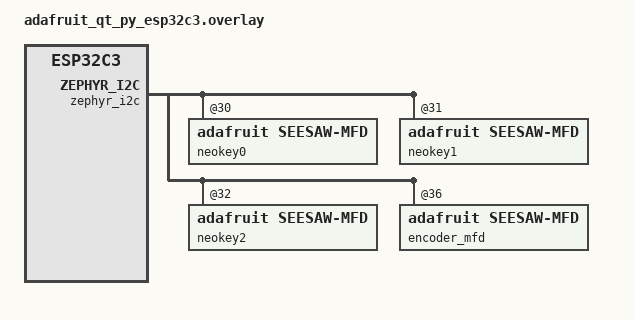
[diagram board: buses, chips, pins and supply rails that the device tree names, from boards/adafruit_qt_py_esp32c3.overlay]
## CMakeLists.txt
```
cmake_minimum_required(VERSION 3.20.0)

find_package(Zephyr REQUIRED HINTS $ENV{ZEPHYR_BASE})
project(codex_keys)

target_sources(app PRIVATE
  src/main.c
  src/codex_hid.c
  src/codex_json.c
  src/codex_rpc.c
)
```

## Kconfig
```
mainmenu "Application options"

source "Kconfig.zephyr"
```

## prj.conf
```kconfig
# Application
CONFIG_MAIN_STACK_SIZE=4096
CONFIG_SYSTEM_WORKQUEUE_STACK_SIZE=4096
CONFIG_LOG=y
CONFIG_REBOOT=y

# 3x NeoKey 1x4 + rotary encoder: seesaw MFD stack over the STEMMA QT I2C bus
CONFIG_I2C=y
CONFIG_GPIO=y
CONFIG_MFD=y
CONFIG_MFD_ADAFRUIT_SEESAW=y
CONFIG_GPIO_ADAFRUIT_SEESAW=y
CONFIG_LED_STRIP=y
CONFIG_LED_STRIP_ADAFRUIT_SEESAW=y
CONFIG_SENSOR=y
CONFIG_ADAFRUIT_SEESAW_ENCODER=y

# Bluetooth HID-over-GATT peripheral
CONFIG_BT=y
CONFIG_BT_PERIPHERAL=y
CONFIG_BT_SMP=y
CONFIG_BT_DEVICE_NAME="Codex Micro"
CONFIG_BT_DEVICE_APPEARANCE=960
CONFIG_BT_MAX_CONN=1
CONFIG_BT_GATT_DYNAMIC_DB=y
CONFIG_BT_HIDS=y
CONFIG_BT_HIDS_OUTPUT_REPORT_COUNT=1
CONFIG_BT_BAS=y
# esp32 BLE host RX thread needs more than the 1200-byte default (zephyr#114394)
CONFIG_BT_RX_STACK_SIZE=2048

# Identity ChatGPT Desktop probes for. Not ours: these belong to the Work Louder
# Codex Micro keyboard and are emitted only for host compatibility detection.
CONFIG_BT_DIS=y
CONFIG_BT_DIS_MODEL_NUMBER=y
CONFIG_BT_DIS_MODEL_NUMBER_STR="Codex Micro"
CONFIG_BT_DIS_MANUF_NAME=y
CONFIG_BT_DIS_MANUF_NAME_STR="Work Louder"
CONFIG_BT_DIS_PNP=y
CONFIG_BT_DIS_PNP_VID_SRC=2
CONFIG_BT_DIS_PNP_VID=0x303A
CONFIG_BT_DIS_PNP_PID=0x8360
CONFIG_BT_DIS_PNP_VER=0x0101

# 63-byte reports need an ATT MTU of at least 66
CONFIG_BT_L2CAP_TX_MTU=252
CONFIG_BT_BUF_ACL_TX_SIZE=251
CONFIG_BT_BUF_ACL_RX_SIZE=251

# Persistent storage for bonds
CONFIG_FLASH=y
CONFIG_FLASH_MAP=y
CONFIG_ZMS=y
CONFIG_SETTINGS=y
CONFIG_BT_SETTINGS=y

CONFIG_HEAP_MEM_POOL_SIZE=16384
```

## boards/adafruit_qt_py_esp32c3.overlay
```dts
/*
 * Codex Micro controller box: 3x Adafruit NeoKey 1x4 QT (PID 4980) plus an
 * Adafruit I2C QT Rotary Encoder (PID 4991), all seesaw devices chained on the
 * STEMMA QT bus. Drivers come from the rosterloh-drivers module.
 *
 * NeoKey addresses are set with the A0..A3 solder jumpers (base 0x30, A0 adds
 * 1, A1 adds 2): board 0 stock, board 1 with A0 bridged, board 2 with A1
 * bridged. On each board the 4 keys are seesaw GPIO 4..7 (active-low, internal
 * pull-up) and the 4 NeoPixels are chained on seesaw pin 3.
 *
 * The encoder breakout sits at its stock 0x36; its push switch is seesaw pin
 * 24 and its onboard NeoPixel (unused so far) is on seesaw pin 6.
 *
 * read-delay-us is a busy-wait before every register read. 10 ms is inherited
 * from bt_keys where it is known to work, but with four devices on the bus
 * that is ~50 ms of spinning per scan pass, so it is the first knob to wind
 * down (the binding default is 250 us) if key latency disappoints.
 */

#include <zephyr/dt-bindings/led/led.h>

&zephyr_i2c {
	status = "okay";

	neokey0: seesaw@30 {
		compatible = "adafruit,seesaw-mfd";
		reg = <0x30>;
		read-delay-us = <10000>;
		status = "okay";

		neokey0_gpio: gpio {
			compatible = "adafruit,seesaw-gpio";
			gpio-controller;
			#gpio-cells = <2>;
			ngpios = <16>;
			status = "okay";
		};

		neokey0_leds: neopixel {
			compatible = "adafruit,seesaw-neopixel";
			chain-length = <4>;
			color-mapping = <LED_COLOR_ID_GREEN LED_COLOR_ID_RED LED_COLOR_ID_BLUE>;
			seesaw-pin = <3>;
			frequency = <800000>;
			status = "okay";
		};
	};

	neokey1: seesaw@31 {
		compatible = "adafruit,seesaw-mfd";
		reg = <0x31>;
		read-delay-us = <10000>;
		status = "okay";

		neokey1_gpio: gpio {
			compatible = "adafruit,seesaw-gpio";
			gpio-controller;
			#gpio-cells = <2>;
			ngpios = <16>;
			status = "okay";
		};

		neokey1_leds: neopixel {
			compatible = "adafruit,seesaw-neopixel";
			chain-length = <4>;
			color-mapping = <LED_COLOR_ID_GREEN LED_COLOR_ID_RED LED_COLOR_ID_BLUE>;
			seesaw-pin = <3>;
			frequency = <800000>;
			status = "okay";
		};
	};

	neokey2: seesaw@32 {
		compatible = "adafruit,seesaw-mfd";
		reg = <0x32>;
		read-delay-us = <10000>;
		status = "okay";

		neokey2_gpio: gpio {
			compatible = "adafruit,seesaw-gpio";
			gpio-controller;
			#gpio-cells = <2>;
			ngpios = <16>;
			status = "okay";
		};

		neokey2_leds: neopixel {
			compatible = "adafruit,seesaw-neopixel";
			chain-length = <4>;
			color-mapping = <LED_COLOR_ID_GREEN LED_COLOR_ID_RED LED_COLOR_ID_BLUE>;
			seesaw-pin = <3>;
			frequency = <800000>;
			status = "okay";
		};
	};

	encoder_mfd: seesaw@36 {
		compatible = "adafruit,seesaw-mfd";
		reg = <0x36>;
		read-delay-us = <10000>;
		status = "okay";

		encoder: encoder {
			compatible = "adafruit,seesaw-encoder";
			status = "okay";
		};

		encoder_gpio: gpio {
			compatible = "adafruit,seesaw-gpio";
			gpio-controller;
			#gpio-cells = <2>;
			ngpios = <32>;
			status = "okay";
		};
	};
};
```

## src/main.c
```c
/*
 * Copyright (c) 2026 Richard Osterloh
 *
 * SPDX-License-Identifier: Apache-2.0
 *
 * codex_keys - a Codex Micro compatible BLE controller built from 3x Adafruit
 * NeoKey 1x4 and an Adafruit I2C rotary encoder.
 *
 * The twelve keys cover the host's full key set (six agent keys, six command
 * keys) and the encoder provides the dial. The NeoPixels still only show a
 * local press colour; rendering the host's agent lighting state from
 * v.oai.thstatus is the next step.
 */

#include <zephyr/bluetooth/bluetooth.h>
#include <zephyr/bluetooth/conn.h>
#include <zephyr/bluetooth/services/bas.h>
#include <zephyr/bluetooth/uuid.h>
#include <zephyr/device.h>
#include <zephyr/devicetree.h>
#include <zephyr/drivers/gpio.h>
#include <zephyr/drivers/led_strip.h>
#include <zephyr/drivers/sensor.h>
#include <zephyr/kernel.h>
#include <zephyr/logging/log.h>
#include <zephyr/settings/settings.h>
#include <zephyr/sys/util.h>

#include "codex_hid.h"
#include "codex_rpc.h"

LOG_MODULE_REGISTER(app, LOG_LEVEL_INF);

#define SCAN_INTERVAL K_MSEC(20)

#define KEYS_PER_PAD 4
#define NUM_PADS     3
#define NUM_KEYS     (NUM_PADS * KEYS_PER_PAD)

/* Seesaw GPIO pins the four keys of a NeoKey 1x4 are wired to. */
static const uint8_t key_pin[KEYS_PER_PAD] = {4, 5, 6, 7};

/* Encoder push switch, seesaw GPIO on the rotary encoder breakout. */
#define ENCODER_SWITCH_PIN 24

/*
 * Seesaw counts up when the shaft turns anticlockwise, and this encoder emits
 * one count per detent. Both are worth re-checking against the actual box:
 * flip the sign if the dial scrolls backwards, raise the divisor if one detent
 * produces several steps.
 */
#define ENCODER_CW_IS_NEGATIVE  1
#define ENCODER_COUNTS_PER_STEP 1

/* A fast spin must not monopolise the scan loop; each step is a BLE round. */
#define ENCODER_STEPS_PER_POLL 8

struct keypad {
	const struct device *gpio;
	const struct device *leds;
};

static const struct keypad keypads[NUM_PADS] = {
	{DEVICE_DT_GET(DT_NODELABEL(neokey0_gpio)), DEVICE_DT_GET(DT_NODELABEL(neokey0_leds))},
	{DEVICE_DT_GET(DT_NODELABEL(neokey1_gpio)), DEVICE_DT_GET(DT_NODELABEL(neokey1_leds))},
	{DEVICE_DT_GET(DT_NODELABEL(neokey2_gpio)), DEVICE_DT_GET(DT_NODELABEL(neokey2_leds))},
};

static const struct device *const encoder_dev = DEVICE_DT_GET(DT_NODELABEL(encoder));
static const struct device *const encoder_gpio = DEVICE_DT_GET(DT_NODELABEL(encoder_gpio));

/*
 * Physical key -> host key id. Keys 0-3 are the first NeoKey, 4-7 the second,
 * 8-11 the third. Agent keys carry their slot index; command keys use -1.
 * Rearrange to match how the strips ended up in the box.
 */
/* clang-format off */
static const struct {
	const char *id;
	int8_t agent;
} key_map[NUM_KEYS] = {
	{"AG00",   0}, {"AG01",   1}, {"AG02",  2}, {"AG03",  3},
	{"AG04",   4}, {"AG05",   5}, {"ACT06", -1}, {"ACT07", -1},
	{"ACT08", -1}, {"ACT09", -1}, {"ACT10", -1}, {"ACT12", -1},
};
/* clang-format on */

static const struct led_rgb key_lit = {.r = 0, .g = 24, .b = 24};
static const struct led_rgb key_off = {.r = 0, .g = 0, .b = 0};

/* ---------- Bluetooth ---------- */

static const struct bt_data ad[] = {
	BT_DATA_BYTES(BT_DATA_FLAGS, (BT_LE_AD_GENERAL | BT_LE_AD_NO_BREDR)),
	BT_DATA_BYTES(BT_DATA_UUID16_ALL, BT_UUID_16_ENCODE(BT_UUID_HIDS_VAL),
		      BT_UUID_16_ENCODE(BT_UUID_BAS_VAL)),
};

static const struct bt_data sd[] = {
	BT_DATA(BT_DATA_NAME_COMPLETE, CONFIG_BT_DEVICE_NAME, sizeof(CONFIG_BT_DEVICE_NAME) - 1),
};

static void connected(struct bt_conn *conn, uint8_t err)
{
	if (err) {
		LOG_ERR("Connection failed (err 0x%02x)", err);
		return;
	}

	LOG_INF("Connected");

	if (bt_conn_set_security(conn, BT_SECURITY_L2)) {
		LOG_WRN("Failed to set security");
	}
}

static void disconnected(struct bt_conn *conn, uint8_t reason)
{
	LOG_INF("Disconnected (reason 0x%02x)", reason);
}

static void security_changed(struct bt_conn *conn, bt_security_t level, enum bt_security_err err)
{
	if (err) {
		LOG_WRN("Security failed: level %u err %d", level, err);
	} else {
		LOG_INF("Security changed: level %u", level);
	}
}

BT_CONN_CB_DEFINE(conn_callbacks) = {
	.connected = connected,
	.disconnected = disconnected,
	.security_changed = security_changed,
};

static void bt_ready(int err)
{
	if (err) {
		LOG_ERR("Bluetooth init failed (err %d)", err);
		return;
	}

	err = codex_hid_init();
	if (err) {
		LOG_ERR("HID service register failed (err %d)", err);
		return;
	}

	if (IS_ENABLED(CONFIG_SETTINGS)) {
		settings_load();
	}

	bt_bas_set_battery_level(100);

	err = bt_le_adv_start(BT_LE_ADV_CONN_FAST_1, ad, ARRAY_SIZE(ad), sd, ARRAY_SIZE(sd));
	if (err) {
		LOG_ERR("Advertising failed to start (err %d)", err);
		return;
	}

	LOG_INF("Advertising as \"%s\" (%04x:%04x)", CONFIG_BT_DEVICE_NAME, CONFIG_BT_DIS_PNP_VID,
		CONFIG_BT_DIS_PNP_PID);
}

/* ---------- Keypads ---------- */

static int keypads_init(void)
{
	for (int pad = 0; pad < NUM_PADS; pad++) {
		if (!device_is_ready(keypads[pad].gpio) || !device_is_ready(keypads[pad].leds)) {
			LOG_ERR("Keypad %d not ready", pad);
			return -ENODEV;
		}

		for (int i = 0; i < KEYS_PER_PAD; i++) {
			int err = gpio_pin_configure(keypads[pad].gpio, key_pin[i],
						     GPIO_INPUT | GPIO_PULL_UP);

			if (err) {
				LOG_ERR("configure pad %d pin %u: %d", pad, key_pin[i], err);
				return err;
			}
		}
	}

	return 0;
}

/* Returns a bitmask of pressed keys (bit i == key_map[i]), or negative on error. */
static int keypads_scan(void)
{
	int pressed = 0;

	for (int pad = 0; pad < NUM_PADS; pad++) {
		gpio_port_value_t raw;
		int err = gpio_port_get_raw(keypads[pad].gpio, &raw);

		if (err) {
			return err;
		}

		for (int i = 0; i < KEYS_PER_PAD; i++) {
			/* Keys are active-low with pull-ups: a 0 bit means pressed. */
			if (!(raw & BIT(key_pin[i]))) {
				pressed |= BIT(pad * KEYS_PER_PAD + i);
			}
		}
	}

	return pressed;
}

/* Only pushes pixels for pads whose keys actually changed. */
static void leds_update(int pressed_mask, int prev_mask)
{
	for (int pad = 0; pad < NUM_PADS; pad++) {
		int shift = pad * KEYS_PER_PAD;
		int mask = (BIT(KEYS_PER_PAD) - 1) << shift;

		if ((pressed_mask & mask) == (prev_mask & mask)) {
			continue;
		}

		struct led_rgb buf[KEYS_PER_PAD];

		for (int i = 0; i < KEYS_PER_PAD; i++) {
			buf[i] = (pressed_mask & BIT(shift + i)) ? key_lit : key_off;
		}

		int err = led_strip_update_rgb(keypads[pad].leds, buf, KEYS_PER_PAD);

		if (err) {
			LOG_WRN("pad %d led update failed: %d", pad, err);
		}
	}
}

static void report_keys(int pressed_mask, int prev_mask)
{
	for (int i = 0; i < NUM_KEYS; i++) {
		int now = pressed_mask & BIT(i);

		if (now == (prev_mask & BIT(i))) {
			continue;
		}

		codex_rpc_send_key(key_map[i].id, now ? CODEX_ACT_PRESS : CODEX_ACT_RELEASE,
				   key_map[i].agent);
	}
}

/* ---------- Rotary encoder ---------- */

static int32_t encoder_last;
static bool encoder_synced;

/* Turn accumulated counts into ENC_CW / ENC_CC step events. */
static void encoder_poll(void)
{
	struct sensor_value val;

	if (sensor_sample_fetch(encoder_dev) < 0 ||
	    sensor_channel_get(encoder_dev, SENSOR_CHAN_ROTATION, &val) < 0) {
		return;
	}

	if (!encoder_synced) {
		encoder_last = val.val1;
		encoder_synced = true;
		return;
	}

	int32_t delta = val.val1 - encoder_last;
	int steps = delta / ENCODER_COUNTS_PER_STEP;

	if (steps == 0) {
		return;
	}

	/* Keep the sub-step remainder so slow turns are not lost. */
	encoder_last += steps * ENCODER_COUNTS_PER_STEP;

	bool clockwise = ENCODER_CW_IS_NEGATIVE ? (steps < 0) : (steps > 0);
	int count = (steps < 0) ? -steps : steps;

	if (count > ENCODER_STEPS_PER_POLL) {
		LOG_WRN("dropping %d encoder steps", count - ENCODER_STEPS_PER_POLL);
		count = ENCODER_STEPS_PER_POLL;
	}

	while (count--) {
		codex_rpc_send_key(clockwise ? "ENC_CW" : "ENC_CC", CODEX_ACT_STEP, -1);
	}
}

static void encoder_switch_poll(void)
{
	static bool was_pressed;

	int val = gpio_pin_get_raw(encoder_gpio, ENCODER_SWITCH_PIN);

	if (val < 0) {
		return;
	}

	bool pressed = (val == 0); /* active-low */

	if (pressed != was_pressed) {
		was_pressed = pressed;
		codex_rpc_send_key("ENC", pressed ? CODEX_ACT_PRESS : CODEX_ACT_RELEASE, -1);
	}
}

static int encoder_init(void)
{
	if (!device_is_ready(encoder_dev) || !device_is_ready(encoder_gpio)) {
		LOG_ERR("Encoder not ready");
		return -ENODEV;
	}

	int err = gpio_pin_configure(encoder_gpio, ENCODER_SWITCH_PIN, GPIO_INPUT | GPIO_PULL_UP);

	if (err) {
		LOG_ERR("configure encoder switch: %d", err);
	}

	return err;
}

int main(void)
{
	int err;

	LOG_INF("codex_keys starting: %d keys + encoder", NUM_KEYS);

	if (keypads_init() || encoder_init()) {
		return 0;
	}

	/* Pretend every key was held so all three strips get blanked once. */
	leds_update(0, BIT(NUM_KEYS) - 1);

	err = bt_enable(bt_ready);
	if (err) {
		LOG_ERR("bt_enable failed (err %d)", err);
		return 0;
	}

	int prev_mask = 0;

	while (1) {
		int mask = keypads_scan();

		if (mask < 0) {
			LOG_WRN("keypad scan failed: %d", mask);
		} else if (mask != prev_mask) {
			leds_update(mask, prev_mask);
			report_keys(mask, prev_mask);
			prev_mask = mask;
		}

		encoder_poll();
		encoder_switch_poll();

		k_sleep(SCAN_INTERVAL);
	}

	return 0;
}
```

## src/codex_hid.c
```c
/*
 * Copyright (c) 2026 Richard Osterloh
 *
 * SPDX-License-Identifier: Apache-2.0
 *
 * HID-over-GATT on Zephyr's HID Service, with a single vendor-defined
 * collection: one 63-byte input report and one 63-byte output report under
 * report id 6. The
 * descriptor and framing mirror the Work Louder Codex Micro keyboard, which is
 * what ChatGPT Desktop probes for. See README.md for provenance.
 */

#include <errno.h>
#include <stdio.h>
#include <string.h>

#include <zephyr/bluetooth/services/hids.h>
#include <zephyr/kernel.h>
#include <zephyr/logging/log.h>
#include <zephyr/sys/util.h>

#include "codex_hid.h"

LOG_MODULE_REGISTER(codex_hid, LOG_LEVEL_INF);

#define REPORT_ID       0x06
#define REPORT_BODY_LEN 63
#define PAYLOAD_MAX     (REPORT_BODY_LEN - 2)
#define MSG_TYPE_JSON   2

/* The reference firmware paces fragments to avoid overrunning the host. */
#define FRAGMENT_GAP K_MSEC(4)

/*
 * One vendor-defined application collection. On BLE the report id selects the
 * characteristic and is not part of the 63-byte report body.
 */
/* clang-format off */
static const uint8_t report_map[] = {
	0x06, 0x00, 0xFF,     /* Usage Page (Vendor Defined 0xFF00) */
	0x09, 0x01,           /* Usage (1) */
	0xA1, 0x01,           /* Collection (Application) */
	0x85, REPORT_ID,      /*  Report ID (6) */
	0x15, 0x00,           /*  Logical Minimum (0) */
	0x26, 0xFF, 0x00,     /*  Logical Maximum (255) */
	0x75, 0x08,           /*  Report Size (8) */
	0x95, 0x3F,           /*  Report Count (63) */
	0x09, 0x01,           /*  Usage (1) */
	0x81, 0x02,           /*  Input (Data,Var,Abs) */
	0x95, 0x3F,           /*  Report Count (63) */
	0x09, 0x02,           /*  Usage (2) */
	0x91, 0x02,           /*  Output (Data,Var,Abs) */
	0xC0,                 /* End Collection */
};
/* clang-format on */

/* Reassembly of fragmented host requests. Only touched from GATT writes. */
static char rx_buf[CODEX_JSON_MAX];
static size_t rx_len;

/* True once rx_buf holds a complete top-level JSON object. */
static bool rx_object_complete(void)
{
	int depth = 0;
	bool in_string = false;

	for (size_t i = 0; i < rx_len; i++) {
		char c = rx_buf[i];

		if (in_string) {
			if (c == '\\') {
				i++;
			} else if (c == '"') {
				in_string = false;
			}
			continue;
		}

		if (c == '"') {
			in_string = true;
		} else if (c == '{') {
			depth++;
		} else if (c == '}' && --depth == 0) {
			return true;
		}
	}

	return false;
}

static void rx_append(const char *payload, size_t len)
{
	/* A fresh top-level object means an earlier fragment was dropped. */
	if (rx_len > 0 && len >= 9 && memcmp(payload, "{\"method\"", 9) == 0) {
		LOG_WRN("resynchronising, discarded %u stale bytes", (unsigned int)rx_len);
		rx_len = 0;
	}

	if (rx_len == 0) {
		while (len > 0 && *payload != '{') {
			payload++;
			len--;
		}
	}

	if (len == 0) {
		return;
	}

	if (rx_len + len >= sizeof(rx_buf)) {
		LOG_WRN("request exceeds %zu bytes, dropping", sizeof(rx_buf));
		rx_len = 0;
		return;
	}

	memcpy(rx_buf + rx_len, payload, len);
	rx_len += len;
	rx_buf[rx_len] = '\0';

	if (rx_object_complete()) {
		LOG_INF("rx: %s", rx_buf);
		codex_rpc_handle(rx_buf);
		rx_len = 0;
	}
}

static void set_report(struct bt_conn *conn, enum bt_hids_report_type type, uint8_t id,
		       const uint8_t *data, uint16_t len)
{
	if (type != BT_HIDS_REPORT_TYPE_OUTPUT || id != REPORT_ID) {
		return;
	}

	LOG_HEXDUMP_DBG(data, len, "output report");

	/* HOGP strips the report id; also accept hosts that forward it. */
	size_t body = (len >= 3 && data[0] == REPORT_ID) ? 1 : 0;

	if (len < body + 2 || data[body] != MSG_TYPE_JSON) {
		LOG_WRN("ignoring output report (len %u, type %u)", len,
			len > body ? data[body] : 0);
		return;
	}

	size_t payload_len = MIN(data[body + 1], PAYLOAD_MAX);

	if (len < body + 2 + payload_len) {
		LOG_WRN("truncated fragment: claims %u bytes, got %u", (unsigned int)payload_len,
			len);
		return;
	}

	rx_append((const char *)(data + body + 2), payload_len);
}

int codex_hid_init(void)
{
	static const struct bt_hids_cb cb = {.set_report = set_report};
	const struct bt_hids_register_param param = {
		.bcd_hid = 0x0111,
		.flags = BT_HIDS_INFO_FLAG_NORMALLY_CONNECTABLE,
		.report_map = report_map,
		.report_map_len = sizeof(report_map),
		.input_report_ids = {REPORT_ID},
		.output_report_ids = {REPORT_ID},
		.cb = &cb,
	};

	return bt_hids_register(&param);
}

/* Key events and RPC replies are sent from different threads. */
static K_MUTEX_DEFINE(tx_lock);
static char framed[CODEX_JSON_MAX];

int codex_hid_send(const char *json)
{
	int ret = 0;

	k_mutex_lock(&tx_lock, K_FOREVER);

	int n = snprintf(framed, sizeof(framed), "%s\n", json);

	if (n < 0 || n >= (int)sizeof(framed)) {
		k_mutex_unlock(&tx_lock);
		return -EMSGSIZE;
	}

	LOG_INF("tx: %s", json);

	for (int offset = 0; offset < n; offset += PAYLOAD_MAX) {
		uint8_t report[REPORT_BODY_LEN] = {0};
		size_t chunk = MIN((size_t)(n - offset), PAYLOAD_MAX);

		report[0] = MSG_TYPE_JSON;
		report[1] = chunk;
		memcpy(&report[2], framed + offset, chunk);

		ret = bt_hids_send_report(NULL, REPORT_ID, report, sizeof(report), NULL, NULL);
		if (ret) {
			/* -ENOTCONN: no host subscribed yet. */
			if (ret != -ENOTCONN) {
				LOG_WRN("notify failed: %d", ret);
			}
			break;
		}

		k_sleep(FRAGMENT_GAP);
	}

	k_mutex_unlock(&tx_lock);
	return ret;
}
```

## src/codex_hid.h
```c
/*
 * Copyright (c) 2026 Richard Osterloh
 *
 * SPDX-License-Identifier: Apache-2.0
 */

#ifndef CODEX_HID_H_
#define CODEX_HID_H_

#include <stddef.h>

/*
 * Vendor-defined HID-over-GATT transport: usage page 0xFF00, report id 6, one
 * 63-byte input report and one 63-byte output report. JSON messages are framed
 * as [type=2][len][payload] and fragmented across reports.
 */

/* Longest JSON message that can be sent or reassembled, including the
 * terminating newline the host's framing expects.
 */
#define CODEX_JSON_MAX 512

/* Register the HID Service. Call before settings_load() so CCCs restore. */
int codex_hid_init(void);

/* Frame, fragment and notify `json`. Sleeps between fragments, so it must be
 * called from a thread. Returns 0, -ENOTCONN if the host is not subscribed, or
 * -EMSGSIZE if the message exceeds CODEX_JSON_MAX.
 */
int codex_hid_send(const char *json);

/* Provided by the application: called with one reassembled, NUL-terminated
 * JSON object received from the host.
 */
void codex_rpc_handle(const char *json);

#endif /* CODEX_HID_H_ */
```

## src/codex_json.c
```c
/*
 * Copyright (c) 2026 Richard Osterloh
 *
 * SPDX-License-Identifier: Apache-2.0
 */

#include <string.h>

#include "codex_json.h"

static const char *skip_ws(const char *p)
{
	while (*p == ' ' || *p == '\t' || *p == '\n' || *p == '\r') {
		p++;
	}

	return p;
}

/* Advance past a JSON string starting at the opening quote. NULL if unterminated. */
static const char *skip_string(const char *p)
{
	p++; /* opening quote */

	while (*p != '"') {
		if (*p == '\0') {
			return NULL;
		}
		if (*p == '\\' && p[1] != '\0') {
			p++;
		}
		p++;
	}

	return p + 1;
}

/* Advance past any JSON value. NULL if malformed or truncated. */
static const char *skip_value(const char *p)
{
	if (*p == '"') {
		return skip_string(p);
	}

	if (*p == '{' || *p == '[') {
		int depth = 0;

		do {
			if (*p == '"') {
				p = skip_string(p);
				if (p == NULL) {
					return NULL;
				}
				continue;
			}
			if (*p == '{' || *p == '[') {
				depth++;
			} else if (*p == '}' || *p == ']') {
				depth--;
			} else if (*p == '\0') {
				return NULL;
			}
			p++;
		} while (depth > 0);

		return p;
	}

	/* Number, true, false or null: runs until a structural character. */
	while (*p != '\0' && strchr(",}] \t\n\r", *p) == NULL) {
		p++;
	}

	return p;
}

const char *codex_json_member(const char *json, const char *key, size_t *len)
{
	const char *p = skip_ws(json);
	size_t key_len = strlen(key);

	if (*p != '{') {
		return NULL;
	}
	p++;

	while (true) {
		p = skip_ws(p);
		if (*p != '"') {
			return NULL; /* end of object, or malformed */
		}

		const char *name = p + 1;
		const char *name_end = skip_string(p);

		if (name_end == NULL) {
			return NULL;
		}

		p = skip_ws(name_end);
		if (*p != ':') {
			return NULL;
		}

		const char *value = skip_ws(p + 1);
		const char *value_end = skip_value(value);

		if (value_end == NULL) {
			return NULL;
		}

		size_t name_len = (size_t)(name_end - name) - 1;

		if (name_len == key_len && memcmp(name, key, key_len) == 0) {
			*len = (size_t)(value_end - value);
			return value;
		}

		p = skip_ws(value_end);
		if (*p != ',') {
			return NULL;
		}
		p++;
	}
}

bool codex_json_str_eq(const char *val, size_t len, const char *expect)
{
	size_t expect_len = strlen(expect);

	if (val == NULL || len != expect_len + 2 || val[0] != '"') {
		return false;
	}

	return memcmp(val + 1, expect, expect_len) == 0;
}
```

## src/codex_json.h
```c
/*
 * Copyright (c) 2026 Richard Osterloh
 *
 * SPDX-License-Identifier: Apache-2.0
 *
 * Just enough JSON to dispatch a flat JSON-RPC object. Deliberately free of
 * Zephyr dependencies so it can be host-compiled by tests/codex_keys/.
 */

#ifndef CODEX_JSON_H_
#define CODEX_JSON_H_

#include <stdbool.h>
#include <stddef.h>

/*
 * Look up `key` among the *top-level* members of the JSON object `json` and
 * return a pointer into `json` at the raw text of its value, with the length
 * written to `len`. Nested members are skipped, so the "id" inside a params
 * array cannot shadow the request id.
 *
 * The value is returned verbatim (quotes included for strings, no unescaping)
 * which is exactly what a response needs in order to echo an id back. Returns
 * NULL if the key is absent or the object is malformed.
 */
const char *codex_json_member(const char *json, const char *key, size_t *len);

/* True if the raw value at `val` is the JSON string "expect". */
bool codex_json_str_eq(const char *val, size_t len, const char *expect);

#endif /* CODEX_JSON_H_ */
```

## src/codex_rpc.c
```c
/*
 * Copyright (c) 2026 Richard Osterloh
 *
 * SPDX-License-Identifier: Apache-2.0
 *
 * JSON-RPC-ish message layer over the vendor HID transport. Requests are
 * answered from the system workqueue: codex_rpc_handle() runs in the Bluetooth
 * RX thread and codex_hid_send() sleeps between fragments.
 */

#include <stdio.h>
#include <string.h>

#include <zephyr/kernel.h>
#include <zephyr/logging/log.h>

#include "codex_hid.h"
#include "codex_json.h"
#include "codex_rpc.h"

LOG_MODULE_REGISTER(codex_rpc, LOG_LEVEL_INF);

#define FIRMWARE_VERSION "0.1.0-qtpy"

/* No fuel gauge on the QT Py; the host only uses this for its status readout. */
#define BATTERY_PERCENT 100

/* Longest request id echoed back verbatim; longer ones are answered with null. */
#define ID_MAX 24

static char pending[CODEX_JSON_MAX];

static void send_result(const char *id, const char *result)
{
	char response[256];

	if (snprintf(response, sizeof(response), "{\"id\":%s,\"result\":%s}", id, result) >=
	    (int)sizeof(response)) {
		LOG_ERR("response too long for id %s", id);
		return;
	}

	codex_hid_send(response);
}

static void handle_request(const char *json)
{
	size_t len;
	size_t id_len;
	const char *method = codex_json_member(json, "method", &len);
	const char *raw_id = codex_json_member(json, "id", &id_len);
	char id[ID_MAX] = "null";

	if (method == NULL) {
		LOG_WRN("request without a method");
		return;
	}

	if (raw_id != NULL && id_len < sizeof(id)) {
		memcpy(id, raw_id, id_len);
		id[id_len] = '\0';
	}

	if (codex_json_str_eq(method, len, "sys.version")) {
		send_result(id, "{\"version\":\"" FIRMWARE_VERSION "\"}");
		return;
	}

	if (codex_json_str_eq(method, len, "device.status")) {
		char result[128];

		snprintf(result, sizeof(result),
			 "{\"version\":\"" FIRMWARE_VERSION "\",\"profile_index\":0,"
			 "\"layer_index\":1,\"battery\":%d,\"is_charging\":false}",
			 BATTERY_PERCENT);
		send_result(id, result);
		return;
	}

	/*
	 * Lighting state is acknowledged but not rendered yet - driving the
	 * NeoKey pixels from v.oai.thstatus is the next step.
	 */
	if (codex_json_str_eq(method, len, "v.oai.thstatus") ||
	    codex_json_str_eq(method, len, "v.oai.rgbcfg") ||
	    codex_json_str_eq(method, len, "lights.preview") ||
	    codex_json_str_eq(method, len, "host.focused_app")) {
		send_result(id, "{\"ok\":true}");
		return;
	}

	LOG_WRN("unknown method %.*s", (int)len, method);

	char response[128];

	snprintf(response, sizeof(response),
		 "{\"id\":%s,\"error\":{\"code\":-32601,\"message\":\"Method not found\"}}", id);
	codex_hid_send(response);
}

static void pending_work_handler(struct k_work *work)
{
	handle_request(pending);
	pending[0] = '\0';
}

static K_WORK_DEFINE(pending_work, pending_work_handler);

void codex_rpc_handle(const char *json)
{
	if (pending[0] != '\0') {
		LOG_WRN("dropping request, previous one still in flight");
		return;
	}

	strncpy(pending, json, sizeof(pending) - 1);
	pending[sizeof(pending) - 1] = '\0';

	k_work_submit(&pending_work);
}

void codex_rpc_send_key(const char *key, uint8_t action, int agent)
{
	char message[128];

	if (agent >= 0) {
		snprintf(
			message, sizeof(message),
			"{\"method\":\"v.oai.hid\",\"params\":{\"k\":\"%s\",\"act\":%u,\"ag\":%d}}",
			key, action, agent);
	} else {
		snprintf(message, sizeof(message),
			 "{\"method\":\"v.oai.hid\",\"params\":{\"k\":\"%s\",\"act\":%u}}", key,
			 action);
	}

	codex_hid_send(message);
}
```

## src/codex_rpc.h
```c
/*
 * Copyright (c) 2026 Richard Osterloh
 *
 * SPDX-License-Identifier: Apache-2.0
 */

#ifndef CODEX_RPC_H_
#define CODEX_RPC_H_

#include <stdint.h>

/* Key actions understood by the host. */
#define CODEX_ACT_RELEASE 0
#define CODEX_ACT_PRESS   1
#define CODEX_ACT_STEP    2

/*
 * Emit a key event. `key` is a host key id ("AG00".."AG05" for agent keys,
 * "ACT06".. for command keys); `agent` is the agent slot for agent keys, or -1.
 * Blocks briefly while fragments are notified, so call from a thread.
 */
void codex_rpc_send_key(const char *key, uint8_t action, int agent);

#endif /* CODEX_RPC_H_ */
```
